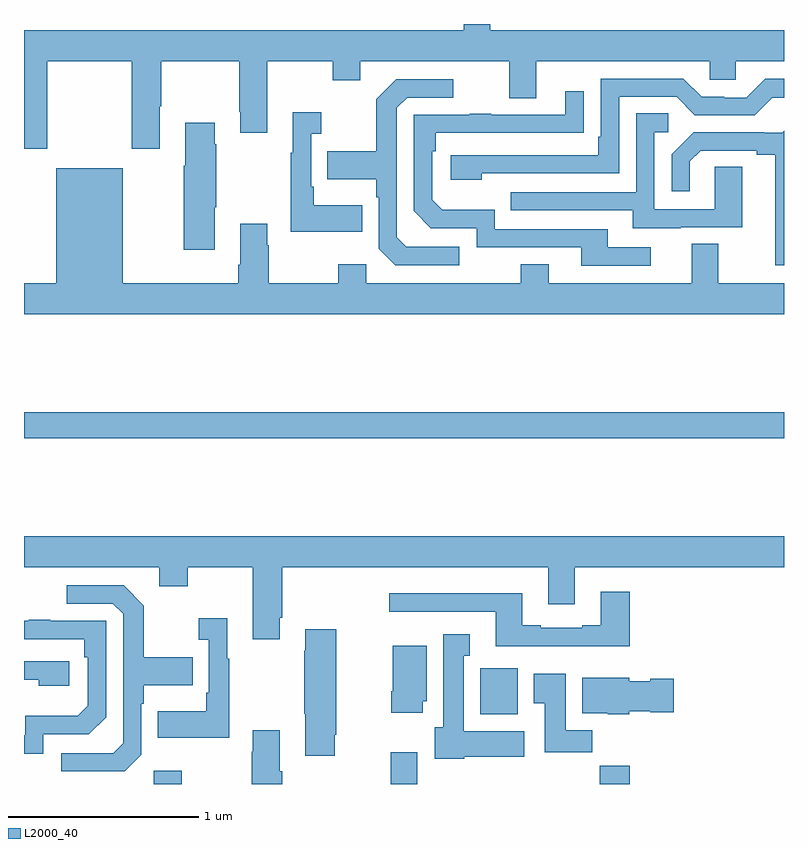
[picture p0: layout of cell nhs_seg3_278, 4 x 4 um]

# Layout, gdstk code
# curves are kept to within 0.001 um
import gdstk
lib = gdstk.Library(unit=1e-6, precision=1e-09)
def R(c, l, rs):  # rectangles x0, y0, x1, y1
    for r in rs: c.add(gdstk.rectangle(r[:2], r[2:], *l))
def P(c, l, *ps):  # polygons
    for p in ps: c.add(gdstk.Polygon(p, *l))
L2000_40 = (2000, 40)

nhs_seg3_278 = lib.new_cell('nhs_seg3_278')
R(nhs_seg3_278, L2000_40, [(123.684,742.4,123.831,742.471), (124.931,742.4,125.071,742.567), (126.031,742.4,126.188,742.496), (125.402,742.766,125.599,743.008), (123,744.22,127,744.356)])
P(nhs_seg3_278, L2000_40, [(123.123,746.204),(123.568,746.204),(123.568,745.743),(123.715,745.743),(123.715,745.966),(123.723,745.966),(123.723,746.204),(124.132,746.204),(124.132,745.939),(124.139,745.939),(124.139,745.827),(124.279,745.827),(124.279,746.204),(124.624,746.204),(124.624,746.105),(124.771,746.105),(124.771,746.204),(125.555,746.204),(125.555,746.01),(125.695,746.01),(125.695,746.204),(126.609,746.204),(126.609,746.106),(126.747,746.106),(126.747,746.204),(127,746.204),(127,746.368),(125.455,746.368),(125.455,746.4),(125.315,746.4),(125.315,746.368),(123,746.368),(123,745.743),(123.123,745.743)],
  [(125.408,745.614),(126.132,745.614),(126.132,746.016),(126.435,746.016),(126.531,745.92),(126.846,745.92),(126.939,746.013),(127,746.013),(127,746.113),(126.901,746.113),(126.801,746.013),(126.686,746.013),(126.686,746.016),(126.567,746.016),(126.471,746.112),(126.036,746.112),(126.036,745.807),(126.023,745.807),(126.023,745.71),(125.247,745.71),(125.247,745.58),(125.408,745.58)],
  [(125.29,745.227),(125.013,745.227),(124.962,745.278),(124.962,745.959),(125.016,746.013),(125.26,746.013),(125.26,746.109),(124.959,746.109),(124.854,746.003),(124.854,745.731),(124.597,745.731),(124.597,745.583),(124.854,745.583),(124.854,745.487),(124.866,745.487),(124.866,745.218),(124.953,745.131),(125.29,745.131)],
  [(126.298,745.224),(126.073,745.224),(126.073,745.32),(125.478,745.32),(125.478,745.423),(125.201,745.423),(125.148,745.476),(125.148,745.73),(125.168,745.73),(125.168,745.827),(125.945,745.828),(125.945,746.047),(125.849,746.047),(125.849,745.923),(125.459,745.923),(125.459,745.928),(125.347,745.928),(125.347,745.923),(125.052,745.923),(125.052,745.416),(125.142,745.326),(125.382,745.326),(125.382,745.224),(125.933,745.224),(125.933,745.128),(126.298,745.128)],
  [(124.781,745.447),(124.525,745.447),(124.525,745.543),(124.512,745.543),(124.512,745.823),(124.564,745.823),(124.564,745.936),(124.415,745.936),(124.415,745.723),(124.404,745.723),(124.404,745.307),(124.781,745.307)],
  [(126.457,745.329),(126.781,745.329),(126.781,745.649),(126.636,745.649),(126.636,745.425),(126.318,745.425),(126.318,745.83),(126.391,745.83),(126.391,745.931),(126.222,745.931),(126.222,745.515),(125.563,745.515),(125.563,745.419),(126.203,745.419),(126.203,745.325),(126.457,745.325)],
  [(124.003,745.435),(124.011,745.435),(124.011,745.766),(124.003,745.766),(124.003,745.879),(123.848,745.879),(123.848,745.655),(123.841,745.655),(123.841,745.212),(124.003,745.212)],
  [(127,745.837),(126.99,745.827),(126.896,745.827),(126.896,745.83),(126.524,745.83),(126.408,745.714),(126.408,745.521),(126.505,745.521),(126.505,745.677),(126.562,745.734),(126.857,745.734),(126.857,745.712),(126.953,745.712),(126.953,745.131),(127,745.131)],
  [(127,745.036),(126.655,745.036),(126.655,745.244),(126.515,745.244),(126.515,745.036),(125.761,745.036),(125.761,745.135),(125.614,745.135),(125.614,745.036),(124.8,745.036),(124.8,745.135),(124.654,745.135),(124.654,745.036),(124.287,745.036),(124.287,745.235),(124.279,745.235),(124.279,745.348),(124.139,745.348),(124.139,745.132),(124.127,745.132),(124.127,745.036),(123.52,745.036),(123.52,745.642),(123.17,745.642),(123.17,745.036),(123,745.036),(123,744.872),(127,744.872)],
  [(124.345,743.275),(124.358,743.275),(124.358,743.54),(125.759,743.54),(125.759,743.346),(125.899,743.346),(125.899,743.54),(127,743.54),(127,743.704),(123,743.704),(123,743.54),(123.713,743.54),(123.713,743.441),(123.861,743.441),(123.861,743.54),(124.205,743.54),(124.205,743.163),(124.345,743.163)],
  [(123.618,742.554),(123.618,742.823),(123.631,742.823),(123.631,742.919),(123.887,742.919),(123.887,743.067),(123.631,743.067),(123.631,743.339),(123.525,743.445),(123.225,743.445),(123.225,743.349),(123.468,743.349),(123.522,743.295),(123.522,742.614),(123.471,742.563),(123.195,742.563),(123.195,742.467),(123.531,742.467)],
  [(126.188,743.413),(126.035,743.413),(126.035,743.236),(125.939,743.236),(125.939,743.223),(125.719,743.223),(125.719,743.236),(125.623,743.236),(125.623,743.404),(124.923,743.404),(124.923,743.307),(125.483,743.307),(125.483,743.126),(126.188,743.126)],
  [(124.081,743.059),(124.069,743.059),(124.069,743.272),(123.921,743.272),(123.921,743.159),(123.972,743.159),(123.972,742.879),(123.96,742.879),(123.96,742.783),(123.703,742.783),(123.703,742.643),(124.081,742.643)],
  [(123.102,742.662),(123.342,742.662),(123.432,742.752),(123.432,743.259),(123.137,743.259),(123.137,743.264),(123.025,743.264),(123.025,743.259),(123,743.259),(123,743.163),(123.316,743.163),(123.316,743.066),(123.336,743.066),(123.336,742.812),(123.283,742.759),(123.006,742.759),(123.006,742.656),(123,742.656),(123,742.56),(123.102,742.56)],
  [(124.636,742.66),(124.644,742.66),(124.644,743.215),(124.481,743.215),(124.481,743.102),(124.474,743.102),(124.474,742.771),(124.481,742.771),(124.481,742.548),(124.636,742.548)],
  [(125.316,742.544),(125.632,742.544),(125.632,742.678),(125.314,742.678),(125.314,743.075),(125.347,743.075),(125.347,743.188),(125.207,743.188),(125.207,742.698),(125.162,742.698),(125.162,742.532),(125.316,742.532)],
  [(125.098,742.836),(125.119,742.836),(125.119,743.128),(124.94,743.128),(124.94,742.888),(124.933,742.888),(124.933,742.776),(125.098,742.776)],
  [(123.238,743.046),(123,743.046),(123,742.95),(123.077,742.95),(123.077,742.916),(123.238,742.916)],
  [(125.99,742.684),(125.851,742.684),(125.851,742.981),(125.684,742.981),(125.684,742.825),(125.741,742.825),(125.741,742.566),(125.99,742.566)],
  [(126.186,742.784),(126.297,742.784),(126.297,742.777),(126.421,742.777),(126.421,742.955),(126.297,742.955),(126.297,742.942),(126.186,742.942),(126.186,742.96),(125.939,742.96),(125.939,742.772),(126.072,742.772),(126.072,742.766),(126.186,742.766)],
  [(124.358,742.468),(124.345,742.468),(124.345,742.684),(124.205,742.684),(124.205,742.571),(124.198,742.571),(124.198,742.4),(124.358,742.4)])

lib.write_gds('nhs_seg3_278.gds')
